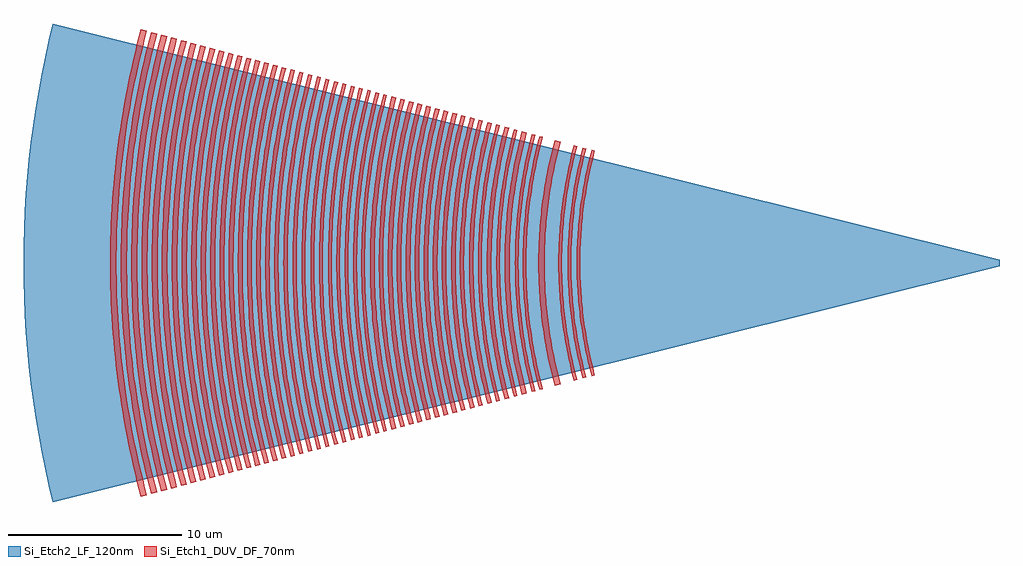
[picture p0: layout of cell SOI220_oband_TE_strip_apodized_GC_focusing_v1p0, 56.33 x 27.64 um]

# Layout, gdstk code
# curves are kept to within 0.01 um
import gdstk
lib = gdstk.Library(unit=1e-6, precision=1e-09)
def P(c, l, *ps):  # polygons
    for p in ps: c.add(gdstk.Polygon(p, *l))
Si_Etch2_LF_120nm = (3, 0)
Si_Etch1_DUV_DF_70nm = (6, 0)

soi220_oband_te_strip_ap = lib.new_cell('SOI220_oband_TE_strip_apodized_GC_focusing_v1p0')
P(soi220_oband_te_strip_ap, Si_Etch2_LF_120nm, [(-54.628,-13.82),(-55.077,-11.877),(-55.457,-9.92),(-55.622,-8.937),(-55.899,-6.962),(-56.108,-4.979),(-56.247,-2.99),(-56.29,-1.994),(-56.325,0),(-56.29,1.994),(-56.247,2.99),(-56.108,4.979),(-55.899,6.962),(-55.622,8.937),(-55.457,9.92),(-55.077,11.877),(-54.628,13.82),(0,0.2),(0,-0.2)])
P(soi220_oband_te_strip_ap, Si_Etch1_DUV_DF_70nm, [(-23.539,-6.522),(-23.752,-5.669),(-23.935,-4.808),(-24.088,-3.942),(-24.211,-3.071),(-24.282,-2.415),(-24.351,-1.538),(-24.383,-0.879),(-24.398,0),(-24.383,0.879),(-24.351,1.538),(-24.302,2.196),(-24.211,3.071),(-24.088,3.942),(-23.935,4.808),(-23.752,5.669),(-23.539,6.522),(-23.346,6.47),(-23.557,5.624),(-23.739,4.77),(-23.89,3.911),(-23.984,3.263),(-24.083,2.396),(-24.137,1.744),(-24.183,0.872),(-24.198,0),(-24.183,-0.872),(-24.137,-1.744),(-24.083,-2.396),(-23.984,-3.263),(-23.89,-3.911),(-23.739,-4.77),(-23.557,-5.624),(-23.346,-6.47)],
  [(-24.041,-6.656),(-24.259,-5.786),(-24.402,-5.128),(-24.565,-4.245),(-24.698,-3.357),(-24.8,-2.465),(-24.856,-1.794),(-24.902,-0.898),(-24.918,0),(-24.902,0.898),(-24.856,1.794),(-24.8,2.465),(-24.698,3.357),(-24.565,4.245),(-24.402,5.128),(-24.259,5.786),(-24.041,6.656),(-23.848,6.605),(-24.013,5.958),(-24.206,5.088),(-24.368,4.212),(-24.5,3.331),(-24.601,2.446),(-24.656,1.78),(-24.702,0.891),(-24.718,0),(-24.702,-0.891),(-24.656,-1.78),(-24.601,-2.446),(-24.5,-3.331),(-24.368,-4.212),(-24.206,-5.088),(-24.013,-5.958),(-23.848,-6.605)],
  [(-24.56,-6.795),(-24.782,-5.907),(-24.928,-5.235),(-25.095,-4.334),(-25.23,-3.427),(-25.311,-2.745),(-25.392,-1.832),(-25.439,-0.916),(-25.455,0),(-25.439,0.916),(-25.392,1.832),(-25.311,2.745),(-25.23,3.427),(-25.095,4.334),(-24.928,5.235),(-24.782,5.907),(-24.56,6.795),(-24.367,6.744),(-24.535,6.083),(-24.732,5.195),(-24.898,4.301),(-25.032,3.401),(-25.135,2.497),(-25.192,1.818),(-25.239,0.909),(-25.255,0),(-25.239,-0.909),(-25.192,-1.818),(-25.135,-2.497),(-25.032,-3.401),(-24.898,-4.301),(-24.732,-5.195),(-24.535,-6.083),(-24.367,-6.744)],
  [(-25.675,-7.093),(-25.907,-6.167),(-26.059,-5.465),(-26.233,-4.524),(-26.375,-3.577),(-26.505,-2.39),(-26.558,-1.674),(-26.593,-0.957),(-26.609,0),(-26.593,0.957),(-26.558,1.674),(-26.505,2.39),(-26.375,3.577),(-26.233,4.524),(-26.059,5.465),(-25.907,6.167),(-25.675,7.093),(-25.33,7.002),(-25.559,6.086),(-25.709,5.394),(-25.881,4.465),(-26.021,3.531),(-26.127,2.593),(-26.202,1.652),(-26.236,0.944),(-26.252,0),(-26.236,-0.944),(-26.202,-1.652),(-26.127,-2.593),(-26.021,-3.531),(-25.881,-4.465),(-25.709,-5.394),(-25.559,-6.086),(-25.33,-7.002)],
  [(-26.546,-7.327),(-26.729,-6.609),(-26.943,-5.645),(-27.163,-4.429),(-27.268,-3.695),(-27.381,-2.714),(-27.459,-1.728),(-27.494,-0.988),(-27.511,0),(-27.494,0.988),(-27.459,1.728),(-27.381,2.714),(-27.268,3.695),(-27.163,4.429),(-26.943,5.645),(-26.729,6.609),(-26.546,7.327),(-26.353,7.276),(-26.534,6.563),(-26.747,5.605),(-26.925,4.64),(-27.07,3.669),(-27.182,2.695),(-27.243,1.961),(-27.294,0.981),(-27.311,0),(-27.294,-0.981),(-27.243,-1.961),(-27.182,-2.695),(-27.07,-3.669),(-26.925,-4.64),(-26.747,-5.605),(-26.534,-6.563),(-26.353,-7.276)],
  [(-26.981,-7.444),(-27.167,-6.715),(-27.384,-5.735),(-27.566,-4.747),(-27.715,-3.754),(-27.829,-2.757),(-27.908,-1.756),(-27.944,-1.004),(-27.961,0),(-27.944,1.004),(-27.908,1.756),(-27.829,2.757),(-27.715,3.754),(-27.566,4.747),(-27.384,5.735),(-27.167,6.715),(-26.981,7.444),(-26.788,7.393),(-26.972,6.668),(-27.188,5.695),(-27.369,4.714),(-27.517,3.728),(-27.63,2.738),(-27.708,1.744),(-27.744,0.997),(-27.761,0),(-27.744,-0.997),(-27.708,-1.744),(-27.63,-2.738),(-27.517,-3.728),(-27.369,-4.714),(-27.188,-5.695),(-26.972,-6.668),(-26.788,-7.393)],
  [(-27.557,-7.598),(-27.806,-6.605),(-28.019,-5.602),(-28.155,-4.846),(-28.307,-3.832),(-28.423,-2.813),(-28.503,-1.793),(-28.548,-0.769),(-28.558,0),(-28.548,0.769),(-28.503,1.793),(-28.423,2.813),(-28.307,3.832),(-28.155,4.846),(-28.019,5.602),(-27.806,6.605),(-27.557,7.598),(-27.279,7.524),(-27.525,6.54),(-27.736,5.547),(-27.912,4.548),(-28.021,3.795),(-28.136,2.786),(-28.216,1.775),(-28.26,0.761),(-28.27,0),(-28.26,-0.761),(-28.216,-1.775),(-28.136,-2.786),(-28.021,-3.795),(-27.912,-4.548),(-27.736,-5.547),(-27.525,-6.54),(-27.279,-7.524)],
  [(-28.015,-7.721),(-28.267,-6.711),(-28.484,-5.692),(-28.665,-4.667),(-28.776,-3.894),(-28.869,-3.119),(-28.96,-2.081),(-29.014,-1.041),(-29.032,0),(-29.014,1.041),(-28.96,2.081),(-28.869,3.119),(-28.776,3.894),(-28.665,4.667),(-28.484,5.692),(-28.267,6.711),(-28.015,7.721),(-27.822,7.67),(-28.072,6.666),(-28.288,5.654),(-28.426,4.891),(-28.578,3.868),(-28.696,2.84),(-28.777,1.809),(-28.822,0.776),(-28.832,0),(-28.822,-0.776),(-28.777,-1.809),(-28.696,-2.84),(-28.578,-3.868),(-28.426,-4.891),(-28.288,-5.654),(-28.072,-6.666),(-27.822,-7.67)],
  [(-28.549,-7.864),(-28.746,-7.093),(-28.975,-6.058),(-29.168,-5.016),(-29.325,-3.966),(-29.445,-2.913),(-29.529,-1.855),(-29.567,-1.06),(-29.585,0),(-29.575,0.795),(-29.529,1.855),(-29.445,2.913),(-29.325,3.966),(-29.168,5.016),(-28.975,6.058),(-28.746,7.093),(-28.549,7.864),(-28.299,7.798),(-28.494,7.033),(-28.721,6.007),(-28.913,4.973),(-29.068,3.932),(-29.161,3.149),(-29.253,2.102),(-29.308,1.051),(-29.326,0),(-29.308,-1.051),(-29.253,-2.102),(-29.161,-3.149),(-29.068,-3.932),(-28.913,-4.973),(-28.721,-6.007),(-28.494,-7.033),(-28.299,-7.798)],
  [(-29.037,-7.995),(-29.236,-7.212),(-29.47,-6.159),(-29.666,-5.099),(-29.825,-4.032),(-29.948,-2.961),(-30.033,-1.886),(-30.071,-1.078),(-30.09,0),(-30.071,1.078),(-30.033,1.886),(-29.948,2.961),(-29.825,4.032),(-29.666,5.099),(-29.47,6.159),(-29.236,7.212),(-29.037,7.995),(-28.844,7.944),(-29.042,7.165),(-29.274,6.119),(-29.469,5.066),(-29.627,4.006),(-29.749,2.942),(-29.833,1.874),(-29.871,1.071),(-29.89,0),(-29.871,-1.071),(-29.833,-1.874),(-29.749,-2.942),(-29.627,-4.006),(-29.469,-5.066),(-29.274,-6.119),(-29.042,-7.165),(-28.844,-7.944)],
  [(-29.54,-8.129),(-29.805,-7.066),(-29.979,-6.263),(-30.18,-5.184),(-30.341,-4.1),(-30.466,-3.01),(-30.552,-1.918),(-30.591,-1.097),(-30.61,0),(-30.591,1.097),(-30.552,1.918),(-30.466,3.01),(-30.341,4.1),(-30.18,5.184),(-29.979,6.263),(-29.805,7.066),(-29.54,8.129),(-29.303,8.067),(-29.504,7.276),(-29.739,6.214),(-29.938,5.144),(-30.098,4.068),(-30.222,2.987),(-30.307,1.903),(-30.346,1.088),(-30.365,0),(-30.346,-1.088),(-30.307,-1.903),(-30.222,-2.987),(-30.098,-4.068),(-29.938,-5.144),(-29.739,-6.214),(-29.504,-7.276),(-29.303,-8.067)],
  [(-30.052,-8.266),(-30.321,-7.185),(-30.553,-6.095),(-30.747,-4.997),(-30.867,-4.17),(-30.993,-3.061),(-31.081,-1.95),(-31.121,-1.115),(-31.14,0),(-31.121,1.115),(-31.081,1.95),(-30.993,3.061),(-30.867,4.17),(-30.747,4.997),(-30.553,6.095),(-30.321,7.185),(-30.052,8.266),(-29.827,8.207),(-30.031,7.402),(-30.27,6.322),(-30.472,5.233),(-30.636,4.139),(-30.761,3.039),(-30.83,2.212),(-30.888,1.107),(-30.907,0),(-30.888,-1.107),(-30.83,-2.212),(-30.761,-3.039),(-30.636,-4.139),(-30.472,-5.233),(-30.27,-6.322),(-30.031,-7.402),(-29.827,-8.207)],
  [(-30.54,-8.397),(-30.749,-7.574),(-30.994,-6.469),(-31.2,-5.355),(-31.368,-4.235),(-31.496,-3.109),(-31.585,-1.98),(-31.634,-0.85),(-31.645,0),(-31.634,0.85),(-31.585,1.98),(-31.496,3.109),(-31.368,4.235),(-31.2,5.355),(-30.994,6.469),(-30.749,7.574),(-30.54,8.397),(-30.293,8.332),(-30.565,7.242),(-30.799,6.143),(-30.949,5.313),(-31.115,4.202),(-31.214,3.365),(-31.312,2.246),(-31.37,1.123),(-31.39,0),(-31.37,-1.123),(-31.312,-2.246),(-31.214,-3.365),(-31.115,-4.202),(-30.949,-5.313),(-30.799,-6.143),(-30.565,-7.242),(-30.293,-8.332)],
  [(-31.061,-8.537),(-31.34,-7.421),(-31.523,-6.576),(-31.733,-5.445),(-31.903,-4.305),(-32.033,-3.161),(-32.124,-2.014),(-32.174,-0.863),(-32.185,0),(-32.174,0.863),(-32.124,2.014),(-32.033,3.161),(-31.903,4.305),(-31.733,5.445),(-31.523,6.576),(-31.34,7.421),(-31.061,8.537),(-30.822,8.474),(-31.099,7.365),(-31.281,6.527),(-31.489,5.404),(-31.658,4.273),(-31.787,3.138),(-31.877,1.999),(-31.927,0.857),(-31.938,0),(-31.927,-0.857),(-31.877,-1.999),(-31.787,-3.138),(-31.658,-4.273),(-31.489,-5.404),(-31.281,-6.527),(-31.099,-7.365),(-30.822,-8.474)],
  [(-31.563,-8.671),(-31.78,-7.822),(-32.033,-6.68),(-32.245,-5.531),(-32.419,-4.373),(-32.551,-3.212),(-32.643,-2.045),(-32.694,-0.877),(-32.705,0),(-32.694,0.877),(-32.643,2.045),(-32.551,3.212),(-32.419,4.373),(-32.245,5.531),(-32.033,6.68),(-31.78,7.822),(-31.563,8.671),(-31.302,8.602),(-31.517,7.759),(-31.768,6.626),(-31.979,5.486),(-32.151,4.338),(-32.282,3.186),(-32.373,2.029),(-32.424,0.87),(-32.435,0),(-32.424,-0.87),(-32.373,-2.029),(-32.282,-3.186),(-32.151,-4.338),(-31.979,-5.486),(-31.768,-6.626),(-31.517,-7.759),(-31.302,-8.602)],
  [(-32.065,-8.806),(-32.353,-7.655),(-32.6,-6.493),(-32.806,-5.323),(-32.934,-4.441),(-33.069,-3.261),(-33.162,-2.077),(-33.213,-0.891),(-33.225,0),(-33.213,0.891),(-33.162,2.077),(-33.069,3.261),(-32.934,4.441),(-32.806,5.323),(-32.6,6.493),(-32.353,7.655),(-32.065,8.806),(-31.814,8.74),(-32.1,7.596),(-32.345,6.443),(-32.502,5.573),(-32.676,4.407),(-32.81,3.236),(-32.883,2.355),(-32.944,1.178),(-32.965,0),(-32.944,-1.178),(-32.883,-2.355),(-32.81,-3.236),(-32.676,-4.407),(-32.502,-5.573),(-32.345,-6.443),(-32.1,-7.596),(-31.814,-8.74)],
  [(-32.568,-8.94),(-32.791,-8.064),(-33.052,-6.888),(-33.271,-5.702),(-33.45,-4.509),(-33.586,-3.311),(-33.681,-2.109),(-33.724,-1.206),(-33.745,0),(-33.724,1.206),(-33.681,2.109),(-33.586,3.311),(-33.45,4.509),(-33.271,5.702),(-33.052,6.888),(-32.791,8.064),(-32.568,8.94),(-32.317,8.874),(-32.538,8.004),(-32.797,6.836),(-33.015,5.659),(-33.192,4.475),(-33.327,3.286),(-33.421,2.093),(-33.464,1.197),(-33.485,0),(-33.464,-1.197),(-33.421,-2.093),(-33.327,-3.286),(-33.192,-4.475),(-33.015,-5.659),(-32.797,-6.836),(-32.538,-8.004),(-32.317,-8.874)],
  [(-33.07,-9.075),(-33.366,-7.888),(-33.621,-6.691),(-33.834,-5.486),(-33.965,-4.577),(-34.104,-3.361),(-34.2,-2.14),(-34.244,-1.223),(-34.265,0),(-34.244,1.223),(-34.2,2.14),(-34.104,3.361),(-33.965,4.577),(-33.834,5.486),(-33.621,6.691),(-33.366,7.888),(-33.07,9.075),(-32.81,9.006),(-33.104,7.828),(-33.357,6.64),(-33.568,5.444),(-33.698,4.542),(-33.836,3.335),(-33.931,2.124),(-33.975,1.214),(-33.996,0),(-33.975,-1.214),(-33.931,-2.124),(-33.836,-3.335),(-33.698,-4.542),(-33.568,-5.444),(-33.357,-6.64),(-33.104,-7.828),(-32.81,-9.006)],
  [(-33.572,-9.21),(-33.802,-8.307),(-34.071,-7.095),(-34.296,-5.874),(-34.481,-4.645),(-34.621,-3.411),(-34.719,-2.173),(-34.773,-0.932),(-34.785,0),(-34.773,0.932),(-34.719,2.173),(-34.621,3.411),(-34.481,4.645),(-34.296,5.874),(-34.071,7.095),(-33.802,8.307),(-33.572,9.21),(-33.322,9.144),(-33.621,7.947),(-33.817,7.043),(-34.041,5.831),(-34.224,4.611),(-34.363,3.386),(-34.44,2.464),(-34.504,1.233),(-34.526,0),(-34.504,-1.233),(-34.44,-2.464),(-34.363,-3.386),(-34.224,-4.611),(-34.041,-5.831),(-33.817,-7.043),(-33.621,-7.947),(-33.322,-9.144)],
  [(-34.07,-9.343),(-34.303,-8.428),(-34.576,-7.198),(-34.805,-5.959),(-34.991,-4.713),(-35.134,-3.46),(-35.233,-2.204),(-35.288,-0.945),(-35.3,0),(-35.288,0.945),(-35.233,2.204),(-35.134,3.46),(-34.991,4.713),(-34.805,5.959),(-34.576,7.198),(-34.303,8.428),(-34.07,9.343),(-33.814,9.275),(-34.117,8.062),(-34.316,7.145),(-34.544,5.915),(-34.728,4.678),(-34.839,3.746),(-34.948,2.5),(-35.013,1.251),(-35.035,0),(-35.013,-1.251),(-34.948,-2.5),(-34.839,-3.746),(-34.728,-4.678),(-34.544,-5.915),(-34.316,-7.145),(-34.117,-8.062),(-33.814,-9.275)],
  [(-34.568,-9.476),(-34.877,-8.237),(-35.143,-6.987),(-35.313,-6.044),(-35.502,-4.779),(-35.647,-3.509),(-35.747,-2.236),(-35.803,-0.958),(-35.815,0),(-35.803,0.958),(-35.747,2.236),(-35.647,3.509),(-35.502,4.779),(-35.313,6.044),(-35.143,6.987),(-34.877,8.237),(-34.568,9.476),(-34.335,9.415),(-34.642,8.183),(-34.906,6.941),(-35.075,6.004),(-35.263,4.748),(-35.407,3.486),(-35.506,2.221),(-35.562,0.952),(-35.574,0),(-35.562,-0.952),(-35.506,-2.221),(-35.407,-3.486),(-35.263,-4.748),(-35.075,-6.004),(-34.906,-6.941),(-34.642,-8.183),(-34.335,-9.415)],
  [(-35.063,-9.609),(-35.302,-8.667),(-35.583,-7.403),(-35.818,-6.128),(-36.011,-4.846),(-36.157,-3.559),(-36.259,-2.267),(-36.306,-1.296),(-36.328,0),(-36.306,1.296),(-36.259,2.267),(-36.157,3.559),(-36.011,4.846),(-35.818,6.128),(-35.583,7.403),(-35.302,8.667),(-35.063,9.609),(-34.809,9.542),(-35.12,8.293),(-35.388,7.035),(-35.611,5.767),(-35.75,4.812),(-35.863,3.854),(-35.975,2.572),(-36.043,1.287),(-36.065,0),(-36.043,-1.287),(-35.975,-2.572),(-35.863,-3.854),(-35.75,-4.812),(-35.611,-5.767),(-35.388,-7.035),(-35.12,-8.293),(-34.809,-9.542)],
  [(-35.549,-9.739),(-35.867,-8.465),(-36.076,-7.503),(-36.315,-6.211),(-36.509,-4.912),(-36.625,-3.934),(-36.74,-2.625),(-36.808,-1.313),(-36.831,0),(-36.808,1.313),(-36.74,2.625),(-36.625,3.934),(-36.509,4.912),(-36.315,6.211),(-36.076,7.503),(-35.867,8.465),(-35.549,9.739),(-35.355,9.688),(-35.743,8.102),(-36.003,6.821),(-36.266,5.21),(-36.425,3.913),(-36.515,2.937),(-36.579,1.959),(-36.617,0.98),(-36.63,0),(-36.617,-0.98),(-36.579,-1.959),(-36.515,-2.937),(-36.425,-3.913),(-36.266,-5.21),(-36.003,-6.821),(-35.743,-8.102),(-35.355,-9.688)],
  [(-36,-9.86),(-36.321,-8.571),(-36.598,-7.27),(-36.829,-5.96),(-36.972,-4.974),(-37.123,-3.652),(-37.227,-2.326),(-37.275,-1.33),(-37.298,0),(-37.275,1.33),(-37.227,2.326),(-37.123,3.652),(-36.972,4.974),(-36.829,5.96),(-36.598,7.27),(-36.321,8.571),(-36,9.86),(-35.79,9.805),(-36.11,8.522),(-36.447,6.904),(-36.665,5.599),(-36.873,3.96),(-36.964,2.972),(-37.029,1.983),(-37.068,0.992),(-37.081,0),(-37.068,-0.992),(-37.029,-1.983),(-36.964,-2.972),(-36.873,-3.96),(-36.665,-5.599),(-36.447,-6.904),(-36.11,-8.522),(-35.79,-9.805)],
  [(-36.469,-9.986),(-36.795,-8.68),(-37.075,-7.362),(-37.255,-6.369),(-37.454,-5.036),(-37.573,-4.033),(-37.69,-2.692),(-37.761,-1.347),(-37.784,0),(-37.761,1.347),(-37.69,2.692),(-37.573,4.033),(-37.454,5.036),(-37.255,6.369),(-37.075,7.362),(-36.795,8.68),(-36.469,9.986),(-36.276,9.935),(-36.6,8.635),(-36.879,7.324),(-37.162,5.674),(-37.337,4.345),(-37.466,3.012),(-37.531,2.009),(-37.571,1.005),(-37.584,0),(-37.571,-1.005),(-37.531,-2.009),(-37.466,-3.012),(-37.337,-4.345),(-37.162,-5.674),(-36.879,-7.324),(-36.6,-8.635),(-36.276,-9.935)],
  [(-36.935,-10.111),(-37.265,-8.788),(-37.482,-7.789),(-37.73,-6.448),(-37.931,-5.099),(-38.086,-3.744),(-38.194,-2.385),(-38.253,-1.022),(-38.266,0),(-38.253,1.022),(-38.194,2.385),(-38.086,3.744),(-37.931,5.099),(-37.73,6.448),(-37.482,7.789),(-37.265,8.788),(-36.935,10.111),(-36.742,10.06),(-37.07,8.743),(-37.352,7.416),(-37.639,5.745),(-37.816,4.4),(-37.918,3.388),(-37.994,2.373),(-38.053,1.017),(-38.066,0),(-38.053,-1.017),(-37.994,-2.373),(-37.918,-3.388),(-37.816,-4.4),(-37.639,-5.745),(-37.352,-7.416),(-37.07,-8.743),(-36.742,-10.06)],
  [(-37.398,-10.235),(-37.733,-8.896),(-37.952,-7.885),(-38.203,-6.528),(-38.407,-5.162),(-38.564,-3.791),(-38.673,-2.414),(-38.733,-1.035),(-38.746,0),(-38.733,1.035),(-38.673,2.414),(-38.564,3.791),(-38.407,5.162),(-38.203,6.528),(-37.952,7.885),(-37.733,8.896),(-37.398,10.235),(-37.201,10.183),(-37.534,8.85),(-37.819,7.507),(-38.058,6.155),(-38.289,4.454),(-38.392,3.429),(-38.469,2.402),(-38.529,1.03),(-38.542,0),(-38.529,-1.03),(-38.469,-2.402),(-38.392,-3.429),(-38.289,-4.454),(-38.11,-5.815),(-37.883,-7.17),(-37.534,-8.85),(-37.201,-10.183)],
  [(-37.899,-10.369),(-38.236,-9.013),(-38.459,-7.988),(-38.713,-6.613),(-38.92,-5.229),(-39.078,-3.84),(-39.189,-2.446),(-39.239,-1.398),(-39.263,0),(-39.239,1.398),(-39.189,2.446),(-39.078,3.84),(-38.92,5.229),(-38.713,6.613),(-38.459,7.988),(-38.236,9.013),(-37.899,10.369),(-37.705,10.318),(-38.041,8.968),(-38.331,7.607),(-38.625,5.892),(-38.807,4.513),(-38.911,3.474),(-38.989,2.434),(-39.039,1.391),(-39.063,0),(-39.039,-1.391),(-38.989,-2.434),(-38.911,-3.474),(-38.807,-4.513),(-38.625,-5.892),(-38.331,-7.607),(-38.041,-8.968),(-37.705,-10.318)],
  [(-38.378,-10.498),(-38.721,-9.125),(-38.946,-8.087),(-39.204,-6.695),(-39.413,-5.295),(-39.573,-3.887),(-39.685,-2.476),(-39.746,-1.062),(-39.76,0),(-39.746,1.062),(-39.685,2.476),(-39.573,3.887),(-39.413,5.295),(-39.204,6.695),(-38.946,8.087),(-38.721,9.125),(-38.378,10.498),(-38.174,10.444),(-38.515,9.077),(-38.808,7.699),(-39.106,5.964),(-39.29,4.568),(-39.425,3.166),(-39.494,2.112),(-39.535,1.056),(-39.549,0),(-39.535,-1.056),(-39.494,-2.112),(-39.425,-3.166),(-39.29,-4.568),(-39.106,-5.964),(-38.808,-7.699),(-38.515,-9.077),(-38.174,-10.444)],
  [(-38.872,-10.63),(-39.22,-9.239),(-39.448,-8.189),(-39.709,-6.779),(-39.92,-5.361),(-40.083,-3.937),(-40.196,-2.508),(-40.258,-1.076),(-40.272,0),(-40.258,1.076),(-40.196,2.508),(-40.083,3.937),(-39.92,5.361),(-39.709,6.779),(-39.448,8.189),(-39.22,9.239),(-38.872,10.63),(-38.672,10.577),(-39.018,9.193),(-39.381,7.447),(-39.616,6.041),(-39.802,4.626),(-39.909,3.562),(-39.989,2.495),(-40.051,1.07),(-40.065,0),(-40.051,-1.07),(-39.989,-2.495),(-39.909,-3.562),(-39.802,-4.626),(-39.616,-6.041),(-39.381,-7.447),(-39.018,-9.193),(-38.672,-10.577)],
  [(-39.375,-10.764),(-39.726,-9.357),(-40.028,-7.937),(-40.222,-6.865),(-40.436,-5.43),(-40.601,-3.987),(-40.715,-2.54),(-40.767,-1.452),(-40.792,0),(-40.767,1.452),(-40.715,2.54),(-40.601,3.987),(-40.436,5.43),(-40.222,6.865),(-40.028,7.937),(-39.726,9.357),(-39.375,10.764),(-39.157,10.707),(-39.507,9.306),(-39.807,7.894),(-40.113,6.115),(-40.301,4.683),(-40.41,3.606),(-40.49,2.526),(-40.542,1.444),(-40.567,0),(-40.542,-1.444),(-40.49,-2.526),(-40.41,-3.606),(-40.301,-4.683),(-40.113,-6.115),(-39.807,-7.894),(-39.507,-9.306),(-39.157,-10.707)],
  [(-39.886,-10.901),(-40.241,-9.475),(-40.547,-8.037),(-40.743,-6.952),(-40.961,-5.498),(-41.127,-4.037),(-41.243,-2.571),(-41.307,-1.103),(-41.321,0),(-41.307,1.103),(-41.243,2.571),(-41.127,4.037),(-40.961,5.498),(-40.743,6.952),(-40.547,8.037),(-40.241,9.475),(-39.886,10.901),(-39.662,10.842),(-40.096,9.067),(-40.388,7.634),(-40.629,6.192),(-40.82,4.742),(-40.93,3.651),(-41.032,2.192),(-41.075,1.097),(-41.089,0),(-41.075,-1.097),(-41.032,-2.192),(-40.93,-3.651),(-40.82,-4.742),(-40.629,-6.192),(-40.388,-7.634),(-40.096,-9.067),(-39.662,-10.842)],
  [(-40.396,-11.038),(-40.756,-9.594),(-41.066,-8.138),(-41.324,-6.672),(-41.484,-5.567),(-41.653,-4.088),(-41.77,-2.603),(-41.823,-1.488),(-41.849,0),(-41.823,1.488),(-41.77,2.603),(-41.653,4.088),(-41.484,5.567),(-41.324,6.672),(-41.066,8.138),(-40.756,9.594),(-40.396,11.038),(-40.168,10.978),(-40.608,9.18),(-40.903,7.73),(-41.147,6.269),(-41.381,4.434),(-41.482,3.328),(-41.555,2.22),(-41.598,1.11),(-41.613,0),(-41.598,-1.11),(-41.555,-2.22),(-41.482,-3.328),(-41.381,-4.434),(-41.147,-6.269),(-40.903,-7.73),(-40.608,-9.18),(-40.168,-10.978)],
  [(-40.902,-11.174),(-41.267,-9.713),(-41.58,-8.238),(-41.781,-7.126),(-42.004,-5.636),(-42.174,-4.138),(-42.293,-2.636),(-42.347,-1.506),(-42.373,0),(-42.347,1.506),(-42.293,2.636),(-42.174,4.138),(-42.004,5.636),(-41.781,7.126),(-41.58,8.238),(-41.267,9.713),(-40.902,11.174),(-40.667,11.112),(-41.03,9.658),(-41.411,7.824),(-41.712,5.975),(-41.895,4.488),(-41.998,3.368),(-42.071,2.247),(-42.115,1.124),(-42.13,0),(-42.115,-1.124),(-42.071,-2.247),(-41.998,-3.368),(-41.895,-4.488),(-41.712,-5.975),(-41.411,-7.824),(-41.03,-9.658),(-40.667,-11.112)],
  [(-41.408,-11.31),(-41.777,-9.83),(-42.02,-8.713),(-42.298,-7.212),(-42.523,-5.703),(-42.696,-4.188),(-42.816,-2.668),(-42.871,-1.525),(-42.897,0),(-42.871,1.525),(-42.816,2.668),(-42.696,4.188),(-42.523,5.703),(-42.298,7.212),(-42.02,8.713),(-41.777,9.83),(-41.408,11.31),(-41.167,11.246),(-41.534,9.774),(-41.85,8.291),(-42.171,6.422),(-42.369,4.919),(-42.483,3.787),(-42.567,2.653),(-42.622,1.516),(-42.648,0),(-42.622,-1.516),(-42.567,-2.653),(-42.483,-3.787),(-42.369,-4.919),(-42.171,-6.422),(-41.85,-8.291),(-41.534,-9.774),(-41.167,-11.246)],
  [(-41.915,-11.445),(-42.2,-10.324),(-42.534,-8.816),(-42.815,-7.299),(-43.044,-5.773),(-43.219,-4.239),(-43.34,-2.7),(-43.407,-1.158),(-43.422,0),(-43.407,1.158),(-43.34,2.7),(-43.219,4.239),(-43.044,5.773),(-42.815,7.299),(-42.534,8.816),(-42.2,10.324),(-41.915,11.445),(-41.666,11.379),(-42.122,9.516),(-42.428,8.012),(-42.681,6.499),(-42.788,5.739),(-42.923,4.596),(-43.028,3.45),(-43.104,2.301),(-43.149,1.151),(-43.164,0),(-43.149,-1.151),(-43.104,-2.301),(-43.028,-3.45),(-42.923,-4.596),(-42.788,-5.739),(-42.681,-6.499),(-42.428,-8.012),(-42.122,-9.516),(-41.666,-11.379)],
  [(-42.426,-11.582),(-42.715,-10.447),(-43.053,-8.922),(-43.337,-7.386),(-43.568,-5.842),(-43.745,-4.29),(-43.868,-2.732),(-43.936,-1.172),(-43.951,0),(-43.936,1.172),(-43.868,2.732),(-43.745,4.29),(-43.568,5.842),(-43.337,7.386),(-43.053,8.922),(-42.715,10.447),(-42.426,11.582),(-42.169,11.514),(-42.545,10.007),(-42.868,8.489),(-43.075,7.342),(-43.304,5.807),(-43.48,4.264),(-43.577,3.103),(-43.658,1.553),(-43.685,0),(-43.658,-1.553),(-43.577,-3.103),(-43.48,-4.264),(-43.304,-5.807),(-43.075,-7.342),(-42.868,-8.489),(-42.545,-10.007),(-42.169,-11.514)],
  [(-42.939,-11.719),(-43.321,-10.186),(-43.65,-8.641),(-43.925,-7.084),(-44.095,-5.91),(-44.274,-4.34),(-44.397,-2.765),(-44.455,-1.581),(-44.482,0),(-44.455,1.581),(-44.397,2.765),(-44.274,4.34),(-44.095,5.91),(-43.925,7.084),(-43.65,8.641),(-43.321,10.186),(-42.939,11.719),(-42.675,11.65),(-43.055,10.125),(-43.382,8.589),(-43.592,7.429),(-43.824,5.875),(-44.002,4.314),(-44.125,2.748),(-44.182,1.571),(-44.209,0),(-44.182,-1.571),(-44.125,-2.748),(-44.002,-4.314),(-43.824,-5.875),(-43.592,-7.429),(-43.382,-8.589),(-43.055,-10.125),(-42.675,-11.65)],
  [(-43.451,-11.857),(-43.838,-10.306),(-44.17,-8.741),(-44.384,-7.561),(-44.62,-5.981),(-44.761,-4.789),(-44.9,-3.195),(-44.984,-1.598),(-45.012,0),(-44.984,1.598),(-44.9,3.195),(-44.801,4.391),(-44.62,5.981),(-44.384,7.561),(-44.17,8.741),(-43.838,10.306),(-43.451,11.857),(-43.181,11.785),(-43.475,10.63),(-43.819,9.078),(-44.109,7.515),(-44.343,5.944),(-44.523,4.364),(-44.648,2.78),(-44.705,1.589),(-44.733,0),(-44.705,-1.589),(-44.648,-2.78),(-44.523,-4.364),(-44.343,-5.944),(-44.109,-7.515),(-43.819,-9.078),(-43.475,-10.63),(-43.181,-11.785)],
  [(-43.968,-11.995),(-44.36,-10.426),(-44.697,-8.844),(-44.977,-7.251),(-45.152,-6.05),(-45.335,-4.442),(-45.435,-3.233),(-45.52,-1.618),(-45.548,0),(-45.52,1.618),(-45.435,3.233),(-45.335,4.442),(-45.152,6.05),(-44.977,7.251),(-44.697,8.844),(-44.36,10.426),(-43.968,11.995),(-43.692,11.922),(-44.081,10.362),(-44.416,8.789),(-44.695,7.206),(-44.868,6.013),(-45.01,4.815),(-45.15,3.213),(-45.234,1.608),(-45.262,0),(-45.234,-1.608),(-45.15,-3.213),(-45.01,-4.815),(-44.868,-6.013),(-44.695,-7.206),(-44.416,-8.789),(-44.081,-10.362),(-43.692,-11.922)],
  [(-44.494,-12.136),(-44.89,-10.549),(-45.231,-8.948),(-45.449,-7.739),(-45.69,-6.122),(-45.876,-4.494),(-46.004,-2.863),(-46.064,-1.636),(-46.092,0),(-46.064,1.636),(-46.004,2.863),(-45.876,4.494),(-45.69,6.122),(-45.449,7.739),(-45.231,8.948),(-44.89,10.549),(-44.494,12.136),(-44.21,12.061),(-44.604,10.483),(-44.942,8.892),(-45.159,7.691),(-45.399,6.083),(-45.583,4.466),(-45.711,2.845),(-45.77,1.626),(-45.798,0),(-45.77,-1.626),(-45.711,-2.845),(-45.583,-4.466),(-45.399,-6.083),(-45.159,-7.691),(-44.942,-8.892),(-44.604,-10.483),(-44.21,-12.061)],
  [(-45.027,-12.278),(-45.427,-10.673),(-45.691,-9.459),(-45.992,-7.831),(-46.237,-6.193),(-46.425,-4.548),(-46.527,-3.31),(-46.614,-1.656),(-46.643,0),(-46.614,1.656),(-46.527,3.31),(-46.425,4.548),(-46.237,6.193),(-45.992,7.831),(-45.691,9.459),(-45.427,10.673),(-45.027,12.278),(-44.736,12.202),(-45.134,10.605),(-45.396,9.399),(-45.695,7.781),(-45.939,6.154),(-46.125,4.519),(-46.254,2.878),(-46.326,1.234),(-46.342,0),(-46.326,-1.234),(-46.254,-2.878),(-46.125,-4.519),(-45.939,-6.154),(-45.695,-7.781),(-45.396,-9.399),(-45.134,-10.605),(-44.736,-12.202)],
  [(-45.567,-12.423),(-45.972,-10.798),(-46.239,-9.571),(-46.544,-7.923),(-46.791,-6.265),(-46.981,-4.601),(-47.085,-3.349),(-47.173,-1.676),(-47.202,0),(-47.173,1.676),(-47.085,3.349),(-46.981,4.601),(-46.791,6.265),(-46.544,7.923),(-46.239,9.571),(-45.972,10.798),(-45.567,12.423),(-45.268,12.344),(-45.671,10.729),(-45.936,9.509),(-46.239,7.872),(-46.485,6.225),(-46.632,4.985),(-46.777,3.327),(-46.864,1.665),(-46.893,0),(-46.864,-1.665),(-46.777,-3.327),(-46.632,-4.985),(-46.485,-6.225),(-46.239,-7.872),(-45.936,-9.509),(-45.671,-10.729),(-45.268,-12.344)],
  [(-46.113,-12.569),(-46.522,-10.926),(-46.792,-9.682),(-47.101,-8.016),(-47.351,-6.339),(-47.544,-4.655),(-47.676,-2.965),(-47.738,-1.695),(-47.767,0),(-47.738,1.695),(-47.676,2.965),(-47.544,4.655),(-47.351,6.339),(-47.101,8.016),(-46.792,9.682),(-46.522,10.926),(-46.113,12.569),(-45.808,12.489),(-46.119,11.265),(-46.483,9.62),(-46.79,7.964),(-47.039,6.298),(-47.23,4.625),(-47.362,2.946),(-47.423,1.684),(-47.452,0),(-47.423,-1.684),(-47.362,-2.946),(-47.23,-4.625),(-47.039,-6.298),(-46.79,-7.964),(-46.483,-9.62),(-46.119,-11.265),(-45.808,-12.489)],
  [(-46.667,-12.717),(-47.082,-11.055),(-47.438,-9.377),(-47.736,-7.688),(-47.92,-6.414),(-48.072,-5.137),(-48.221,-3.427),(-48.311,-1.715),(-48.341,0),(-48.311,1.715),(-48.221,3.427),(-48.072,5.137),(-47.92,6.414),(-47.736,7.688),(-47.438,9.377),(-47.082,11.055),(-46.667,12.717),(-46.354,12.635),(-46.766,10.982),(-47.037,9.733),(-47.347,8.057),(-47.599,6.372),(-47.792,4.679),(-47.926,2.98),(-47.987,1.704),(-48.017,0),(-47.987,-1.704),(-47.926,-2.98),(-47.792,-4.679),(-47.599,-6.372),(-47.347,-8.057),(-47.037,-9.733),(-46.766,-10.982),(-46.354,-12.635)],
  [(-47.228,-12.868),(-47.648,-11.185),(-48.009,-9.488),(-48.31,-7.778),(-48.496,-6.49),(-48.693,-4.766),(-48.801,-3.468),(-48.892,-1.736),(-48.922,0),(-48.892,1.736),(-48.801,3.468),(-48.693,4.766),(-48.496,6.49),(-48.31,7.778),(-48.009,9.488),(-47.648,11.185),(-47.228,12.868),(-46.908,12.784),(-47.325,11.111),(-47.684,9.425),(-47.914,8.152),(-48.168,6.447),(-48.364,4.734),(-48.471,3.445),(-48.561,1.724),(-48.591,0),(-48.561,-1.724),(-48.471,-3.445),(-48.364,-4.734),(-48.168,-6.447),(-47.914,-8.152),(-47.684,-9.425),(-47.325,-11.111),(-46.908,-12.784)],
  [(-47.797,-13.02),(-48.221,-11.318),(-48.587,-9.6),(-48.892,-7.871),(-49.08,-6.567),(-49.279,-4.823),(-49.417,-3.072),(-49.481,-1.756),(-49.511,0),(-49.481,1.756),(-49.417,3.072),(-49.279,4.823),(-49.08,6.567),(-48.892,7.871),(-48.587,9.6),(-48.221,11.318),(-47.797,13.02),(-47.469,12.934),(-47.891,11.242),(-48.169,9.963),(-48.487,8.248),(-48.744,6.523),(-48.942,4.79),(-49.079,3.051),(-49.142,1.744),(-49.172,0),(-49.142,-1.744),(-49.079,-3.051),(-48.942,-4.79),(-48.744,-6.523),(-48.487,-8.248),(-48.169,-9.963),(-47.891,-11.242),(-47.469,-12.934)],
  [(-48.374,-13.175),(-48.803,-11.452),(-49.173,-9.714),(-49.41,-8.402),(-49.672,-6.645),(-49.829,-5.321),(-49.984,-3.551),(-50.077,-1.777),(-50.108,0),(-50.077,1.777),(-49.984,3.551),(-49.829,5.321),(-49.672,6.645),(-49.41,8.402),(-49.173,9.714),(-48.803,11.452),(-48.374,13.175),(-48.038,13.087),(-48.364,11.804),(-48.746,10.081),(-49.068,8.345),(-49.328,6.6),(-49.528,4.846),(-49.667,3.087),(-49.744,1.324),(-49.761,0),(-49.744,-1.324),(-49.667,-3.087),(-49.528,-4.846),(-49.328,-6.6),(-49.068,-8.345),(-48.746,-10.081),(-48.364,-11.804),(-48.038,-13.087)],
  [(-48.958,-13.331),(-49.393,-11.588),(-49.767,-9.83),(-50.079,-8.059),(-50.272,-6.725),(-50.475,-4.937),(-50.617,-3.145),(-50.682,-1.797),(-50.713,0),(-50.682,1.797),(-50.617,3.145),(-50.475,4.937),(-50.272,6.725),(-50.079,8.059),(-49.767,9.83),(-49.393,11.588),(-48.958,13.331),(-48.615,13.241),(-49.047,11.508),(-49.331,10.2),(-49.656,8.444),(-49.92,6.678),(-50.122,4.903),(-50.263,3.123),(-50.327,1.785),(-50.358,0),(-50.327,-1.785),(-50.263,-3.123),(-50.122,-4.903),(-49.92,-6.678),(-49.656,-8.444),(-49.331,-10.2),(-49.047,-11.508),(-48.615,-13.241)],
  [(-49.549,-13.49),(-49.885,-12.169),(-50.279,-10.392),(-50.61,-8.604),(-50.879,-6.804),(-51.085,-4.996),(-51.198,-3.636),(-51.293,-1.819),(-51.325,0),(-51.293,1.819),(-51.198,3.636),(-51.085,4.996),(-50.879,6.804),(-50.61,8.604),(-50.279,10.392),(-49.885,12.169),(-49.549,13.49),(-49.199,13.398),(-49.533,12.084),(-49.924,10.32),(-50.253,8.544),(-50.52,6.757),(-50.725,4.961),(-50.837,3.611),(-50.931,1.807),(-50.963,0),(-50.931,-1.807),(-50.837,-3.611),(-50.725,-4.961),(-50.52,-6.757),(-50.253,-8.544),(-49.924,-10.32),(-49.533,-12.084),(-49.199,-13.398)])

lib.write_gds('SOI220_oband_TE_strip_apodized_GC_focusing_v1p0.gds')
